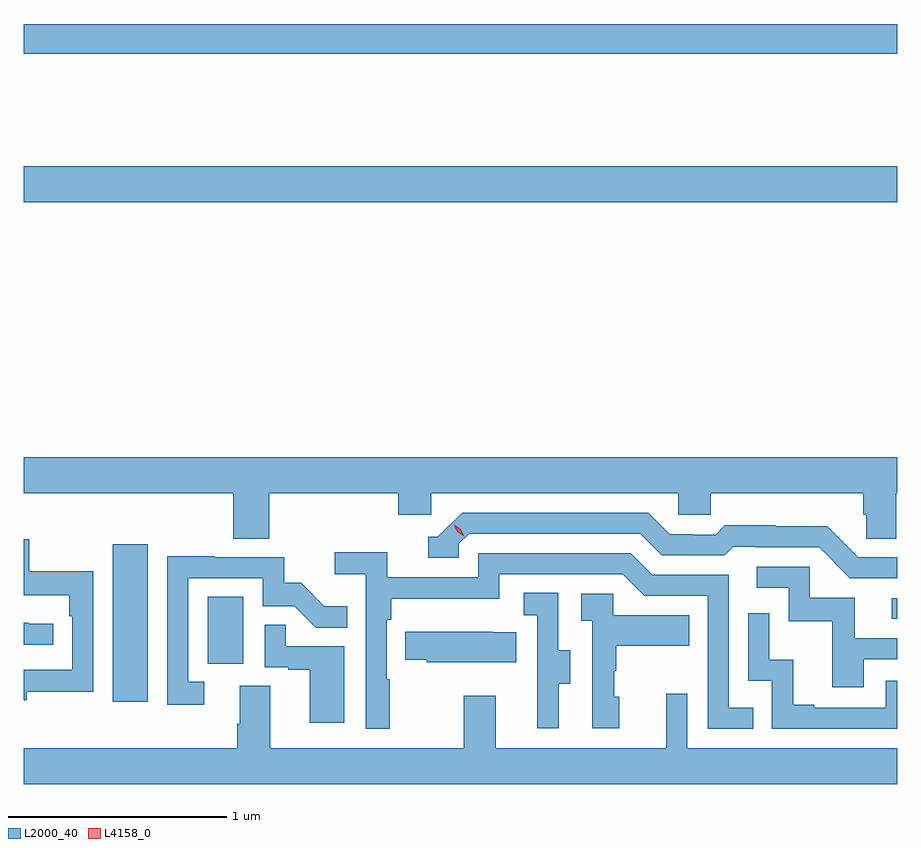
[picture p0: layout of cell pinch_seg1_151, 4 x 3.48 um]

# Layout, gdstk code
import gdstk
lib = gdstk.Library(unit=1e-6, precision=1e-09)
def R(c, l, rs):  # rectangles x0, y0, x1, y1
    for r in rs: c.add(gdstk.rectangle(r[:2], r[2:], *l))
def P(c, l, *ps):  # polygons
    for p in ps: c.add(gdstk.Polygon(p, *l))
L2000_40 = (2000, 40)
L4158_0 = (4158, 0)

pinch_seg1_151 = lib.new_cell('pinch_seg1_151')
R(pinch_seg1_151, L2000_40, [(1103.723,556.104,1103.884,556.825), (1104.158,556.278,1104.322,556.585), (1107.291,556.485,1107.316,556.578), (1103.316,558.392,1107.316,558.556), (1103.316,559.072,1107.316,559.208)])
P(pinch_seg1_151, L2000_40, [(1103.316,557.06),(1104.275,557.06),(1104.275,556.852),(1104.44,556.852),(1104.44,557.06),(1105.031,557.06),(1105.031,556.962),(1105.182,556.962),(1105.182,557.06),(1106.313,557.06),(1106.313,556.962),(1106.463,556.962),(1106.463,557.06),(1107.161,557.06),(1107.161,556.962),(1107.175,556.962),(1107.175,556.852),(1107.312,556.852),(1107.312,557.06),(1107.316,557.06),(1107.316,557.224),(1103.316,557.224)],
  [(1107.316,556.767),(1107.138,556.767),(1106.996,556.909),(1106.76,556.909),(1106.76,556.912),(1106.527,556.912),(1106.485,556.869),(1106.382,556.869),(1106.382,556.872),(1106.275,556.872),(1106.176,556.971),(1105.323,556.971),(1105.212,556.86),(1105.169,556.86),(1105.169,556.764),(1105.308,556.764),(1105.308,556.827),(1105.356,556.875),(1106.139,556.875),(1106.238,556.776),(1106.527,556.776),(1106.566,556.815),(1106.665,556.815),(1106.665,556.812),(1106.958,556.812),(1107.099,556.671),(1107.316,556.671)],
  [(1103.329,556.15),(1103.634,556.15),(1103.634,556.702),(1103.341,556.702),(1103.341,556.848),(1103.316,556.848),(1103.316,556.592),(1103.525,556.592),(1103.525,556.496),(1103.538,556.496),(1103.538,556.251),(1103.316,556.251),(1103.316,556.112),(1103.329,556.112)],
  [(1104.991,556.208),(1104.978,556.208),(1104.978,556.481),(1104.998,556.481),(1104.998,556.577),(1105.494,556.577),(1105.494,556.689),(1106.058,556.689),(1106.157,556.59),(1106.448,556.59),(1106.448,555.981),(1106.657,555.981),(1106.657,556.077),(1106.544,556.077),(1106.544,556.686),(1106.194,556.686),(1106.095,556.785),(1105.398,556.785),(1105.398,556.674),(1104.98,556.674),(1104.98,556.79),(1104.741,556.79),(1104.741,556.688),(1104.882,556.688),(1104.882,555.981),(1104.991,555.981)],
  [(1104.142,556.197),(1104.069,556.197),(1104.069,556.671),(1104.411,556.671),(1104.411,556.542),(1104.555,556.542),(1104.653,556.444),(1104.797,556.444),(1104.797,556.543),(1104.693,556.543),(1104.586,556.65),(1104.51,556.65),(1104.51,556.767),(1104.191,556.767),(1104.191,556.772),(1103.973,556.772),(1103.973,556.092),(1104.142,556.092)],
  [(1107.163,556.299),(1107.316,556.299),(1107.316,556.395),(1107.121,556.395),(1107.121,556.581),(1106.916,556.581),(1106.916,556.722),(1106.673,556.722),(1106.673,556.626),(1106.82,556.626),(1106.82,556.473),(1107.019,556.473),(1107.019,556.17),(1107.163,556.17)],
  [(1105.765,556.186),(1105.819,556.186),(1105.819,556.341),(1105.764,556.341),(1105.764,556.604),(1105.605,556.604),(1105.605,556.501),(1105.668,556.501),(1105.668,556.197),(1105.667,556.197),(1105.667,555.984),(1105.765,555.984)],
  [(1106.044,556.128),(1106.019,556.128),(1106.019,556.247),(1106.029,556.247),(1106.029,556.361),(1106.363,556.361),(1106.363,556.501),(1106.016,556.501),(1106.016,556.599),(1105.869,556.599),(1105.869,556.475),(1105.92,556.475),(1105.92,555.984),(1106.044,555.984)],
  [(1107.316,556.2),(1107.264,556.2),(1107.264,556.077),(1106.935,556.077),(1106.935,556.09),(1106.84,556.09),(1106.84,556.298),(1106.73,556.298),(1106.73,556.51),(1106.634,556.51),(1106.634,556.2),(1106.742,556.2),(1106.742,555.981),(1107.316,555.981)],
  [(1103.452,556.461),(1103.339,556.461),(1103.339,556.466),(1103.316,556.466),(1103.316,556.365),(1103.452,556.365)],
  [(1104.784,556.359),(1104.515,556.359),(1104.515,556.457),(1104.42,556.457),(1104.42,556.263),(1104.527,556.263),(1104.527,556.251),(1104.626,556.251),(1104.626,556.008),(1104.784,556.008)],
  [(1105.571,556.423),(1105.463,556.423),(1105.463,556.426),(1105.063,556.426),(1105.063,556.297),(1105.161,556.297),(1105.161,556.286),(1105.571,556.286)],
  [(1107.316,555.892),(1106.355,555.892),(1106.355,556.141),(1106.258,556.141),(1106.258,555.892),(1105.477,555.892),(1105.477,556.132),(1105.33,556.132),(1105.33,555.892),(1104.445,555.892),(1104.445,556.178),(1104.305,556.178),(1104.305,556.004),(1104.293,556.004),(1104.293,555.892),(1103.316,555.892),(1103.316,555.728),(1107.316,555.728)])
P(pinch_seg1_151, L4158_0, [(1105.333,556.862),(1105.302,556.882),(1105.287,556.914),(1105.287,556.915),(1105.287,556.915),(1105.317,556.895),(1105.333,556.862),(1105.333,556.862)])

lib.write_gds('pinch_seg1_151.gds')
